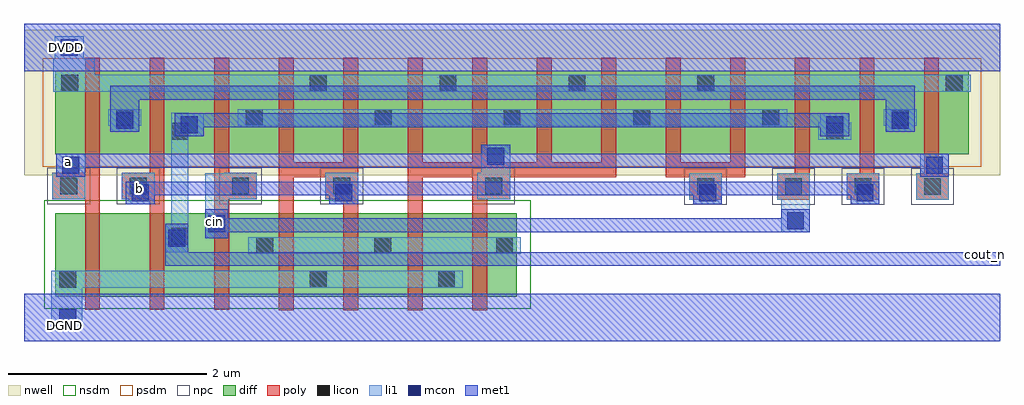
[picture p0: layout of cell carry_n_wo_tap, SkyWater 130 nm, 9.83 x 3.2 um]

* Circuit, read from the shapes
.subckt carry_n_wo_tap DGND DVDD a b cin cout_n
XM1 n1 a DGND VSUBS sky130_fd_pr__nfet_01v8 w=0.84 l=0.15
XM2 cout_n b n1 VSUBS sky130_fd_pr__nfet_01v8 w=0.84 l=0.15
XM3 n2 cin cout_n VSUBS sky130_fd_pr__nfet_01v8 w=0.84 l=0.15
XM4 DGND b n2 VSUBS sky130_fd_pr__nfet_01v8 w=0.84 l=0.15 m=2
XM5 DGND a n2 VSUBS sky130_fd_pr__nfet_01v8 w=0.84 l=0.15 m=2
XM6 n3 a DVDD n4 sky130_fd_pr__pfet_01v8 w=0.84 l=0.15 m=2
XM7 cout_n b n3 n4 sky130_fd_pr__pfet_01v8 w=0.84 l=0.15 m=2
XM8 n5 cin cout_n n4 sky130_fd_pr__pfet_01v8 w=0.84 l=0.15 m=2
XM9 DVDD b n5 n4 sky130_fd_pr__pfet_01v8 w=0.84 l=0.15 m=4
XM10 DVDD a n5 n4 sky130_fd_pr__pfet_01v8 w=0.84 l=0.15 m=4
.ends

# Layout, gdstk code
from math import pi, radians
import gdstk
lib = gdstk.Library(unit=1e-6, precision=1e-09)
def R(c, l, rs):  # rectangles x0, y0, x1, y1
    for r in rs: c.add(gdstk.rectangle(r[:2], r[2:], *l))
def A(c, l, x, y, w, h, nx, ny, dx, dy):  # array of equal rectangles
    R(c, l, [(x+i*dx, y+j*dy, x+i*dx+w, y+j*dy+h) for i in range(nx) for j in range(ny)])
def P(c, l, *ps):  # polygons
    for p in ps: c.add(gdstk.Polygon(p, *l))
nwell = (64, 20)
diff = (65, 20)
poly = (66, 20)
licon = (66, 44)
li1 = (67, 20)
mcon = (67, 44)
met1 = (68, 20)
nsdm = (93, 44)
psdm = (94, 20)
npc = (95, 20)

nfet = lib.new_cell('nfet')

pfet = lib.new_cell('pfet')
R(pfet, nwell, [(-0.315,-0.14,9.515,1.325)])
R(pfet, diff, [(0,0.07,9.2,0.91)])
A(pfet, poly, 0.3, -0.2, 0.15, 1.24, 7, 1, 0.65, 0)
A(pfet, poly, 4.85, -0.155, 0.15, 1.195, 6, 1, 0.65, 0)
P(pfet, poly, [(8.75,-0.155),(8.75,1.04),(8.9,1.04),(8.9,-0.155),(8.835,-0.155)])
R(pfet, psdm, [(-0.125,-0.055,9.325,1.035)])

nfet_3 = lib.new_cell('nfet$3')
R(nfet_3, diff, [(0,0.085,4.65,0.925)])
A(nfet_3, poly, 2.25, -0.05, 0.15, 1.17, 4, 1, 0.65, 0)
A(nfet_3, poly, 0.3, -0.045, 0.15, 1.17, 3, 1, 0.65, 0)
R(nfet_3, nsdm, [(-0.11,-0.035,4.79,1.055)])

vias_gen_3 = lib.new_cell('vias_gen$3')
R(vias_gen_3, li1, [(0,0,0.29,0.23)])
R(vias_gen_3, mcon, [(0.06,0.03,0.23,0.2)])
R(vias_gen_3, met1, [(0,0,0.29,0.23)])

vias_gen_1 = lib.new_cell('vias_gen$1')
R(vias_gen_1, poly, [(0,0,0.33,0.27)])
R(vias_gen_1, licon, [(0.08,0.05,0.25,0.22)])
R(vias_gen_1, li1, [(0,0,0.33,0.27)])
R(vias_gen_1, npc, [(-0.05,-0.05,0.38,0.32)])

vias_gen_2 = lib.new_cell('vias_gen$2')

carry_n_wo_tap = lib.new_cell('carry_n_wo_tap')
A(carry_n_wo_tap, poly, -1.045, 0.905, 0.15, 0.16, 7, 1, 0.65, 0)
R(carry_n_wo_tap, licon, [(-1.305,-0.04,-1.135,0.13), (1.22,-0.04,1.39,0.13), (2.51,-0.04,2.68,0.13), (0.68,0.3,0.85,0.47), (1.87,0.3,2.04,0.47), (3.095,0.3,3.265,0.47), (-0.175,0.395,-0.005,0.565), (-0.175,1.45,-0.005,1.62), (6.42,1.45,6.59,1.62), (-0.73,1.59,-0.56,1.76), (0.575,1.59,0.745,1.76), (1.875,1.59,2.045,1.76), (3.17,1.59,3.34,1.76), (4.475,1.59,4.645,1.76), (5.775,1.59,5.945,1.76), (7.08,1.59,7.25,1.76), (-1.285,1.935,-1.115,2.105), (1.22,1.935,1.39,2.105), (2.525,1.935,2.695,2.105), (3.825,1.935,3.995,2.105), (5.12,1.935,5.29,2.105), (7.625,1.935,7.795,2.105)])
R(carry_n_wo_tap, li1, [(-1.385,-0.455,-1.075,-0.04), (0.165,0.5,0.395,1.115), (5.965,0.75,6.255,0.845), (-1.335,1.11,-1.045,1.115), (2.945,1.11,3.235,1.205), (7.365,1.11,7.655,1.115), (6.34,1.45,6.67,1.62), (-0.81,1.59,-0.48,1.76), (7,1.59,7.33,1.76), (-1.365,2.1,-0.945,2.265)])
R(carry_n_wo_tap, met1, [(-1.66,-0.58,8.17,-0.1), (-0.79,1.76,-0.5,1.855), (7.02,1.76,7.31,1.855), (-1.66,2.14,8.17,2.62)])
carry_n_wo_tap.add(gdstk.FlexPath([(-1.365,2.02),(7.875,2.02)], 0.17, ends="flush", simple_path=True, layer=67, datatype=20))  # li1
carry_n_wo_tap.add(gdstk.FlexPath([(3.345,0.385),(0.6,0.385)], 0.17, ends="flush", simple_path=True, layer=67, datatype=20))  # li1
carry_n_wo_tap.add(gdstk.FlexPath([(2.76,0.045),(-1.385,0.045)], 0.17, ends="flush", simple_path=True, layer=67, datatype=20))  # li1
carry_n_wo_tap.add(gdstk.FlexPath([(0.495,1.675),(6.025,1.675)], 0.17, ends="flush", simple_path=True, layer=67, datatype=20))  # li1
carry_n_wo_tap.add(gdstk.FlexPath([(-0.09,1.72),(-0.09,0.315)], 0.17, ends="flush", simple_path=True, layer=67, datatype=20))  # li1
carry_n_wo_tap.add(gdstk.FlexPath([(-1.22,-0.255),(-1.22,-0.075)], 0.17, ends="flush", simple_path=True, layer=67, datatype=20))  # li1
carry_n_wo_tap.add(gdstk.FlexPath([(0.395,0.59),(5.965,0.59)], 0.14, ends="flush", simple_path=True, layer=68, datatype=20))  # met1
carry_n_wo_tap.add(gdstk.FlexPath([(-0.79,1.925),(7.31,1.925)], 0.14, ends="flush", simple_path=True, layer=68, datatype=20))  # met1
carry_n_wo_tap.add(gdstk.FlexPath([(0.15,1.645),(6.36,1.645)], 0.14, ends="flush", simple_path=True, layer=68, datatype=20))  # met1
carry_n_wo_tap.add(gdstk.FlexPath([(-1.045,1.24),(7.365,1.24)], 0.14, ends="flush", simple_path=True, layer=68, datatype=20))  # met1
carry_n_wo_tap.add(gdstk.FlexPath([(-0.345,0.96),(6.665,0.96)], 0.14, ends="flush", simple_path=True, layer=68, datatype=20))  # met1
carry_n_wo_tap.add(gdstk.FlexPath([(-0.235,0.25),(8.17,0.25)], 0.14, ends="flush", simple_path=True, layer=68, datatype=20))  # met1
carry_n_wo_tap.add(gdstk.FlexPath([(4.805,1.15),(5.605,1.15)], 0.15, ends="flush", simple_path=True, layer=66, datatype=20))  # poly
carry_n_wo_tap.add(gdstk.FlexPath([(2.205,1.15),(4.305,1.15)], 0.15, ends="flush", simple_path=True, layer=66, datatype=20))  # poly
carry_n_wo_tap.add(gdstk.FlexPath([(0.905,1.15),(1.705,1.15)], 0.15, ends="flush", simple_path=True, layer=66, datatype=20))  # poly
carry_n_wo_tap.add(gdstk.Reference(nfet, (-1.345,-0.035)))
carry_n_wo_tap.add(gdstk.Reference(pfet, (-1.345,1.235)))
carry_n_wo_tap.add(gdstk.Reference(nfet_3, (-1.345,-0.215)))
carry_n_wo_tap.add(gdstk.Reference(vias_gen_3, (-0.79,1.53)))
carry_n_wo_tap.add(gdstk.Reference(vias_gen_3, (-0.14,1.485)))
carry_n_wo_tap.add(gdstk.Reference(vias_gen_3, (6.36,1.485)))
carry_n_wo_tap.add(gdstk.Reference(vias_gen_3, (7.02,1.53)))
carry_n_wo_tap.add(gdstk.Reference(vias_gen_1, (6.625,0.845)))
carry_n_wo_tap.add(gdstk.Reference(vias_gen_3, (-1.35,2.265)))
carry_n_wo_tap.add(gdstk.Reference(vias_gen_3, (-1.335,1.08)))
carry_n_wo_tap.add(gdstk.Reference(vias_gen_3, (2.945,1.17)))
carry_n_wo_tap.add(gdstk.Reference(vias_gen_2, (0.395,0.605)))
carry_n_wo_tap.add(gdstk.Reference(vias_gen_3, (7.365,1.08)))
carry_n_wo_tap.add(gdstk.Reference(vias_gen_3, (-0.635,0.8)))
carry_n_wo_tap.add(gdstk.Reference(vias_gen_3, (1.415,0.8)))
carry_n_wo_tap.add(gdstk.Reference(vias_gen_3, (5.08,0.8)))
carry_n_wo_tap.add(gdstk.Reference(vias_gen_3, (6.665,0.8)))
carry_n_wo_tap.add(gdstk.Reference(vias_gen_3, (5.965,0.52)))
carry_n_wo_tap.add(gdstk.Reference(vias_gen_3, (0.395,0.46), rotation=pi/2))
carry_n_wo_tap.add(gdstk.Reference(vias_gen_3, (-0.005,0.315), rotation=pi/2))
carry_n_wo_tap.add(gdstk.Reference(vias_gen_3, (-1.365,-0.455)))
carry_n_wo_tap.add(gdstk.Reference(vias_gen_1, (7.325,0.845)))
carry_n_wo_tap.add(gdstk.Reference(vias_gen_1, (5.925,0.845)))
carry_n_wo_tap.add(gdstk.Reference(vias_gen_1, (5.04,0.845)))
carry_n_wo_tap.add(gdstk.Reference(vias_gen_1, (2.905,0.85)))
carry_n_wo_tap.add(gdstk.Reference(vias_gen_1, (0.355,0.85)))
carry_n_wo_tap.add(gdstk.Reference(vias_gen_1, (-0.675,0.85)))
carry_n_wo_tap.add(gdstk.Reference(vias_gen_1, (-1.375,0.85)))
carry_n_wo_tap.add(gdstk.Reference(vias_gen_1, (1.375,0.85)))
carry_n_wo_tap.add(gdstk.Label('a', (-1.21,1.23), layer=68, texttype=5))
carry_n_wo_tap.add(gdstk.Label('DVDD', (-1.23,2.375), layer=68, texttype=5))
carry_n_wo_tap.add(gdstk.Label('b', (-0.5,0.955), layer=68, texttype=5))
carry_n_wo_tap.add(gdstk.Label('cin', (0.255,0.63), layer=68, texttype=5))
carry_n_wo_tap.add(gdstk.Label('DGND', (-1.255,-0.425), layer=68, texttype=5))
carry_n_wo_tap.add(gdstk.Label('cout_n', (8.025,0.29), layer=68, texttype=5))

lib.write_gds('carry_n_wo_tap.gds')
